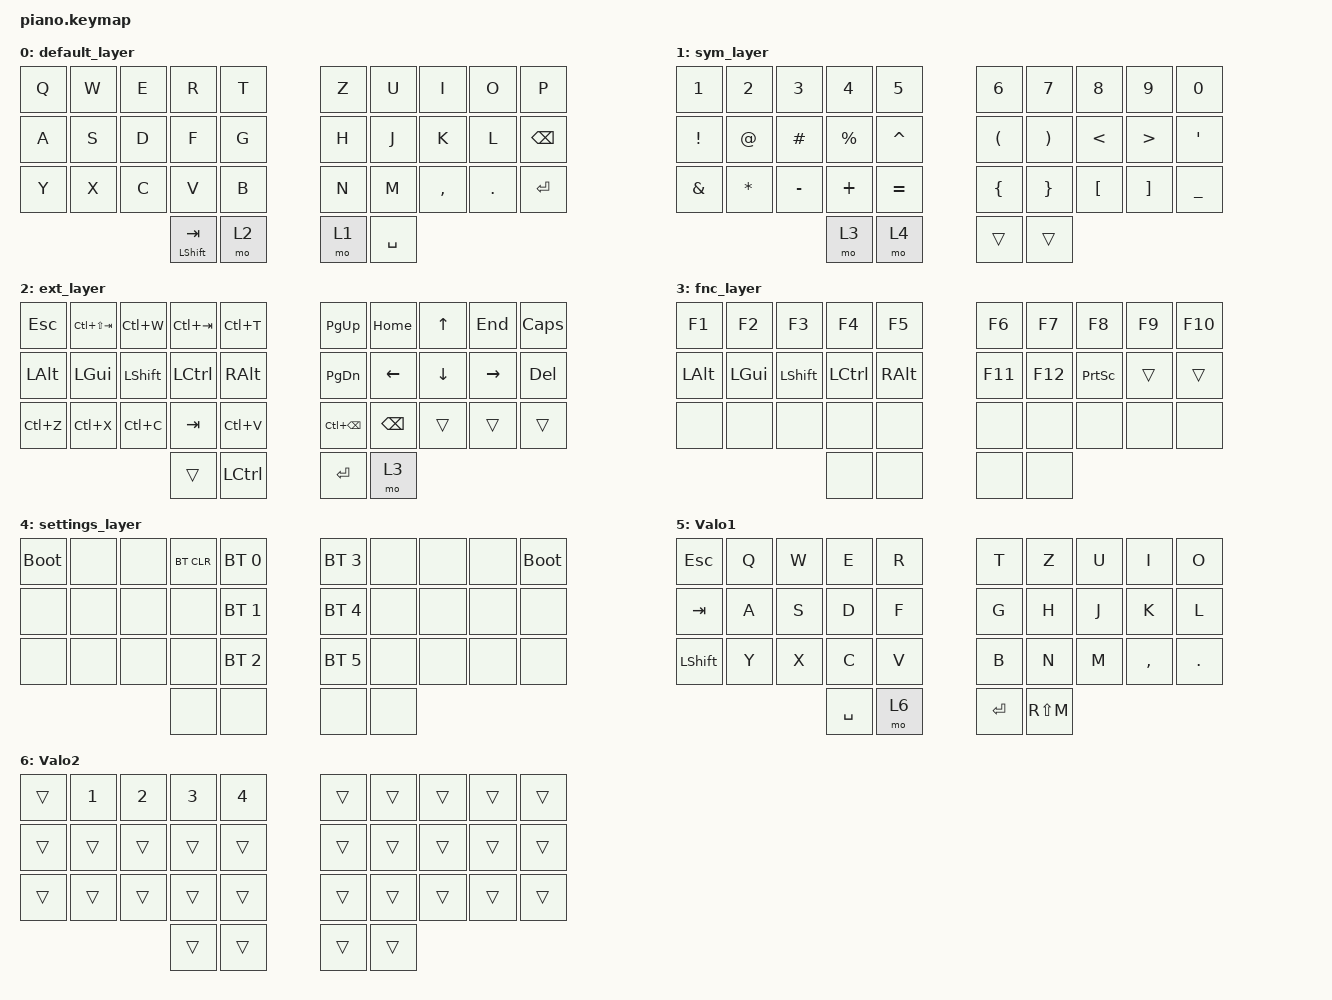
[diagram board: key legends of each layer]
/*
 * Copyright (c) 2020 The ZMK Contributors
 *
 * SPDX-License-Identifier: MIT
 */

#include <behaviors.dtsi>
#include <dt-bindings/zmk/bt.h>
#include <dt-bindings/zmk/keys.h>

// Layer definitions

#define BASE 0
#define SYM 1
#define EXT 2
#define FNC 3
#define SYM2 4
#define ACCENT 5
#define SETTINGS 6

// -----------------

&mt {
    //  flavor = "tap-preferred";
    // tapping_term_ms = <200>;
};

&sk {
    ignore-modifiers;
};

/ {
    macros {
        // sometimes my device thinks a modifier is being held down
        // pressing all modifiers fixes it.
    };

    combos {
        compatible = "zmk,combos";

        // both right thumb keys
        // internal-left & external-right thumb keys
        // both left thumb keysnew_combo {};

        new_combo {
            bindings = <&tog 5>;
            key-positions = <32 33>;
        };
    };

    keymap {
        compatible = "zmk,keymap";

        // Base alpha layer

        default_layer {
            bindings = <
&kp Q  &kp W  &kp E               &kp R  &kp T    &kp Z      &kp U      &kp I    &kp O          &kp P
&kp A  &kp S  &kp D               &kp F  &kp G    &kp H      &kp J      &kp K    &kp L  &kp BACKSPACE
&kp Y  &kp X  &kp C               &kp V  &kp B    &kp N      &kp M  &kp COMMA  &kp DOT      &kp ENTER
                     &mt LEFT_SHIFT TAB  &mo 2    &mo 1  &kp SPACE
            >;
        };

        // Numbers and high frequency symbols

        sym_layer {
            bindings = <
         &kp N1        &kp N2     &kp N3       &kp N4     &kp N5                  &kp N6                 &kp N7            &kp N8             &kp N9          &kp N0
&kp EXCLAMATION        &kp AT   &kp HASH  &kp PERCENT  &kp CARET    &kp LEFT_PARENTHESIS  &kp RIGHT_PARENTHESIS     &kp LESS_THAN   &kp GREATER_THAN         &kp SQT
  &kp AMPERSAND  &kp ASTERISK  &kp MINUS     &kp PLUS  &kp EQUAL          &kp LEFT_BRACE        &kp RIGHT_BRACE  &kp LEFT_BRACKET  &kp RIGHT_BRACKET  &kp UNDERSCORE
                                                &mo 3      &mo 4                  &trans                 &trans
            >;
        };

        // Main modifiers and arrow keys

        ext_layer {
            bindings = <
  &kp ESC  &kp LC(LS(TAB))   &kp LC(W)  &kp LC(TAB)  &kp LC(T)       &kp PG_UP  &kp HOME    &kp UP    &kp END  &kp CAPS
 &kp LALT         &kp LGUI  &kp LSHIFT    &kp LCTRL   &kp RALT       &kp PG_DN  &kp LEFT  &kp DOWN  &kp RIGHT   &kp DEL
&kp LC(Z)        &kp LC(X)   &kp LC(C)      &kp TAB  &kp LC(V)    &kp LC(BSPC)  &kp BSPC    &trans     &trans    &trans
                                             &trans  &kp LCTRL       &kp ENTER     &mo 3
            >;
        };

        // Function keys with modifiers

        fnc_layer {
            bindings = <
  &kp F1    &kp F2      &kp F3     &kp F4    &kp F5     &kp F6   &kp F7           &kp F8  &kp F9  &kp F10
&kp LALT  &kp LGUI  &kp LSHIFT  &kp LCTRL  &kp RALT    &kp F11  &kp F12  &kp PRINTSCREEN  &trans   &trans
   &none     &none       &none      &none     &none      &none    &none            &none   &none    &none
                                    &none     &none      &none    &none
            >;
        };

        // Low frequency symbols.
        // Used to change the keyboard's settings.

        settings_layer {
            bindings = <
&bootloader  &none  &none  &bt BT_CLR  &bt BT_SEL 0    &bt BT_SEL 3  &none  &none  &none  &bootloader
      &none  &none  &none       &none  &bt BT_SEL 1    &bt BT_SEL 4  &none  &none  &none        &none
      &none  &none  &none       &none  &bt BT_SEL 2    &bt BT_SEL 5  &none  &none  &none        &none
                                &none         &none           &none  &none
            >;
        };

        Valorant_1 {
            bindings = <
  &kp ESC  &kp Q  &kp W      &kp E  &kp R        &kp T      &kp Z  &kp U      &kp I    &kp O
  &kp TAB  &kp A  &kp S      &kp D  &kp F        &kp G      &kp H  &kp J      &kp K    &kp L
&kp LSHFT  &kp Y  &kp X      &kp C  &kp V        &kp B      &kp N  &kp M  &kp COMMA  &kp DOT
                         &kp SPACE  &mo 6    &kp ENTER  &kp RS(M)
            >;

            label = "Valo1";
        };

        Valorant_2 {
            bindings = <
&trans  &kp N1  &kp N2  &kp N3  &kp N4    &trans  &trans  &trans  &trans  &trans
&trans  &trans  &trans  &trans  &trans    &trans  &trans  &trans  &trans  &trans
&trans  &trans  &trans  &trans  &trans    &trans  &trans  &trans  &trans  &trans
                        &trans  &trans    &trans  &trans
            >;

            label = "Valo2";
        };
    };
};
